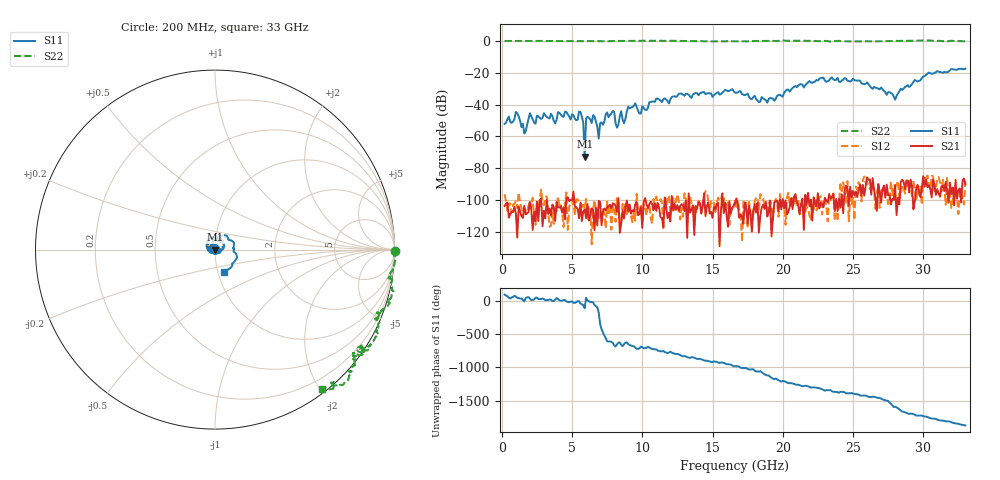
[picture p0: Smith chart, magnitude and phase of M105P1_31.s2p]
# GHZ S RI R 50
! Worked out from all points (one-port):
!   329 points, 200 MHz to 33 GHz, reference 50 ohm
!   lowest |S11| = -72.8 dB at 5.9 GHz (marker M1), VSWR 1.00, Z = 50 - j0.0211 ohm
!   |S11| at or under -10 dB: start of sweep to end of sweep
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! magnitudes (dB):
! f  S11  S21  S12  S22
! 200 MHz  -52.2  -103.9  -96.5  0.0
! 1 GHz  -44.7  -108.4  -100.8  0.0
! 1.6 GHz  -58.2  -103.7  -105.5  0.0
! 2 GHz  -45.5  -101.4  -100.5  0.1
! 5.7 GHz  -47.6  -113.4  -104.6  -0.1
! 5.8 GHz  -51.5  -107.3  -101.7  -0.1
! 5.9 GHz  -72.8  -106.4  -106.1  -0.1
! 6 GHz  -48.8  -111.5  -99.4  -0.1
! 6.1 GHz  -47.6  -102.7  -111.8  -0.1
! 6.6 GHz  -47.6  -119.2  -100.2  -0.1
! 6.9 GHz  -61.4  -100.6  -111.6  -0.1
! 7 GHz  -51.7  -101.3  -102.7  -0.1
! 7.5 GHz  -44.9  -104.7  -101.0  -0.2
! 8 GHz  -44.6  -102.6  -106.4  0.0
! 8.2 GHz  -54.6  -107.6  -98.9  0.0
! 9 GHz  -41.2  -107.5  -102.0  0.0
! 11.2 GHz  -36.9  -105.1  -101.8  0.1
! 16.6 GHz  -32.6  -102.0  -99.9  -0.2
! 18.9 GHz  -38.8  -110.5  -106.6  0.1
! 22.1 GHz  -26.4  -113.1  -106.1  0.1
! 27.6 GHz  -32.2  -97.1  -100.6  0.0
! 33 GHz  -17.4  -90.4  -88.4  -0.2
